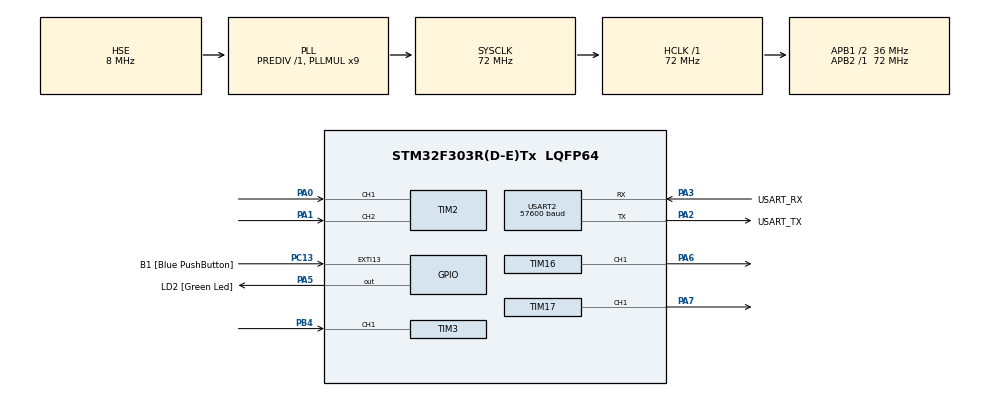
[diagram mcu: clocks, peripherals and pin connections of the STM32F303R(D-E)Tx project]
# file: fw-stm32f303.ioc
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Dma.Request0=TIM2_CH1
Dma.TIM2_CH1.0.Direction=DMA_PERIPH_TO_MEMORY
Dma.TIM2_CH1.0.Instance=DMA1_Channel5
Dma.TIM2_CH1.0.MemDataAlignment=DMA_MDATAALIGN_WORD
Dma.TIM2_CH1.0.MemInc=DMA_MINC_ENABLE
Dma.TIM2_CH1.0.Mode=DMA_NORMAL
Dma.TIM2_CH1.0.PeriphDataAlignment=DMA_PDATAALIGN_WORD
Dma.TIM2_CH1.0.PeriphInc=DMA_PINC_DISABLE
Dma.TIM2_CH1.0.Priority=DMA_PRIORITY_HIGH
Mcu.Family=STM32F3
Mcu.Name=STM32F303R(D-E)Tx
Mcu.Package=LQFP64
NVIC.DMA1_Channel5_IRQn=true\:0\:0\:false\:false\:true\:true
NVIC.PriorityGroup=NVIC_PRIORITYGROUP_0
NVIC.USART2_IRQn=true\:0\:0\:false\:false\:true\:true
PA0.Signal=S_TIM2_CH1_ETR
PA1.Signal=S_TIM2_CH2
PA13.GPIO_Label=TMS
PA13.Signal=SYS_JTMS-SWDIO
PA14.GPIO_Label=TCK
PA14.Signal=SYS_JTCK-SWCLK
PA2.GPIO_Label=USART_TX
PA2.GPIO_Mode=GPIO_MODE_AF_PP
PA2.GPIO_PuPd=GPIO_NOPULL
PA2.GPIO_Speed=GPIO_SPEED_FREQ_LOW
PA2.Mode=Asynchronous
PA2.Signal=USART2_TX
PA3.GPIO_Label=USART_RX
PA3.GPIO_Mode=GPIO_MODE_AF_PP
PA3.GPIO_PuPd=GPIO_NOPULL
PA3.GPIO_Speed=GPIO_SPEED_FREQ_LOW
PA3.Mode=Asynchronous
PA3.Signal=USART2_RX
PA5.GPIO_Label=LD2 [Green Led]
PA5.GPIO_Mode=GPIO_MODE_OUTPUT_PP
PA5.GPIO_PuPd=GPIO_NOPULL
PA5.GPIO_Speed=GPIO_SPEED_FREQ_LOW
PA5.Signal=GPIO_Output
PA6.Signal=S_TIM16_CH1
PA7.Signal=S_TIM17_CH1
PB3.GPIO_Label=SWO
PB3.Signal=SYS_JTDO-TRACESWO
PB4.Signal=S_TIM3_CH1
PC13.GPIO_Label=B1 [Blue PushButton]
PC13.GPIO_ModeDefaultEXTI=GPIO_MODE_EVT_RISING
PC13.Signal=GPXTI13
PC14-OSC32_IN.Signal=RCC_OSC32_IN
PC15-OSC32_OUT.Signal=RCC_OSC32_OUT
PF0-OSC_IN.Mode=HSE-External-Oscillator
PF0-OSC_IN.Signal=RCC_OSC_IN
PF1-OSC_OUT.Mode=HSE-External-Oscillator
PF1-OSC_OUT.Signal=RCC_OSC_OUT
ProjectManager.HeapSize=0x200
ProjectManager.StackSize=0x400
ProjectManager.TargetToolchain=SW4STM32
RCC.AHBFreq_Value=72000000
RCC.APB1CLKDivider=RCC_HCLK_DIV2
RCC.APB1Freq_Value=36000000
RCC.APB1TimFreq_Value=72000000
RCC.APB2Freq_Value=72000000
RCC.APB2TimFreq_Value=72000000
RCC.CortexFreq_Value=72000000
RCC.HCLKFreq_Value=72000000
RCC.HSE_VALUE=8000000
RCC.HSI_VALUE=8000000
RCC.LSE_VALUE=32768
RCC.PLLM=8
RCC.PLLMUL=RCC_PLL_MUL9
RCC.PLLN=336
RCC.PLLP=RCC_PLLP_DIV4
RCC.PLLQ=7
RCC.PLLSourceVirtual=RCC_PLLSOURCE_HSE
RCC.RCC_PLLsource_Clock_Source_FROM_HSE=RCC_HSE_PREDIV_DIV2
RCC.SYSCLKFreq_VALUE=72000000
RCC.SYSCLKSourceVirtual=RCC_SYSCLKSOURCE_PLLCLK
RCC.USBFreq_Value=72000000
SH.S_TIM16_CH1.0=TIM16_CH1,PWM Generation1 CH1
SH.S_TIM17_CH1.0=TIM17_CH1,PWM Generation1 CH1
SH.S_TIM2_CH1_ETR.0=TIM2_CH1,Input_Capture1_from_TI1
SH.S_TIM2_CH2.0=TIM2_CH2,Input_Capture2_from_TI2
SH.S_TIM3_CH1.0=TIM3_CH1,Input_Capture1_from_TI1
TIM16.Channel=TIM_CHANNEL_1
TIM17.Channel=TIM_CHANNEL_1
TIM2.Channel-Input_Capture1_from_TI1=TIM_CHANNEL_1
TIM2.Channel-Input_Capture2_from_TI2=TIM_CHANNEL_2
TIM3.Channel-Input_Capture1_from_TI1=TIM_CHANNEL_1
USART2.BaudRate=57600
USART2.Parity=PARITY_NONE
USART2.VirtualMode-Asynchronous=VM_ASYNC
USART2.WordLength=WORDLENGTH_8B
VP_TIM16_VS_ClockSourceINT.Mode=Enable_Timer
VP_TIM17_VS_ClockSourceINT.Mode=Enable_Timer
VP_TIM1_VS_ClockSourceINT.Mode=Internal
VP_TIM2_VS_ClockSourceINT.Mode=Internal
VP_TIM3_VS_ClockSourceINT.Mode=Internal
board=NUCLEO-F303RE

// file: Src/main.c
/**
  ******************************************************************************
  * File Name          : main.c
  * Description        : Main program body
  ******************************************************************************
  ** This notice applies to any and all portions of this file
  * that are not between comment pairs USER CODE BEGIN and
  * USER CODE END. Other portions of this file, whether
  * inserted by the user or by software development tools
  * are owned by their respective copyright owners.
  *
  * COPYRIGHT(c) 2017 STMicroelectronics
  *
  * Redistribution and use in source and binary forms, with or without modification,
  * are permitted provided that the following conditions are met:
  *   1. Redistributions of source code must retain the above copyright notice,
  *      this list of conditions and the following disclaimer.
  *   2. Redistributions in binary form must reproduce the above copyright notice,
  *      this list of conditions and the following disclaimer in the documentation
  *      and/or other materials provided with the distribution.
  *   3. Neither the name of STMicroelectronics nor the names of its contributors
  *      may be used to endorse or promote products derived from this software
  *      without specific prior written permission.
  *
  * THIS SOFTWARE IS PROVIDED BY THE COPYRIGHT HOLDERS AND CONTRIBUTORS "AS IS"
  * AND ANY EXPRESS OR IMPLIED WARRANTIES, INCLUDING, BUT NOT LIMITED TO, THE
  * IMPLIED WARRANTIES OF MERCHANTABILITY AND FITNESS FOR A PARTICULAR PURPOSE ARE
  * DISCLAIMED. IN NO EVENT SHALL THE COPYRIGHT HOLDER OR CONTRIBUTORS BE LIABLE
  * FOR ANY DIRECT, INDIRECT, INCIDENTAL, SPECIAL, EXEMPLARY, OR CONSEQUENTIAL
  * DAMAGES (INCLUDING, BUT NOT LIMITED TO, PROCUREMENT OF SUBSTITUTE GOODS OR
  * SERVICES; LOSS OF USE, DATA, OR PROFITS; OR BUSINESS INTERRUPTION) HOWEVER
  * CAUSED AND ON ANY THEORY OF LIABILITY, WHETHER IN CONTRACT, STRICT LIABILITY,
  * OR TORT (INCLUDING NEGLIGENCE OR OTHERWISE) ARISING IN ANY WAY OUT OF THE USE
  * OF THIS SOFTWARE, EVEN IF ADVISED OF THE POSSIBILITY OF SUCH DAMAGE.
  *
  ******************************************************************************
  */
#include "main.h"
#include "stm32f3xx_hal.h"

/* USER CODE BEGIN Includes */
#include "virtualinstrument/hw.h"
#include "virtualinstrument/instrument.h"
#include "virtualinstrument/protocol.h"
#include "virtualinstrument/protocol_ascii.h"

#include "hw_stm32f303.h"
#include "../../../common/protocoldefs.h"
/* USER CODE END Includes */

TIM_HandleTypeDef htim1;
TIM_HandleTypeDef htim2;
TIM_HandleTypeDef htim3;
TIM_HandleTypeDef htim16;
TIM_HandleTypeDef htim17;
DMA_HandleTypeDef hdma_tim2_ch1;

UART_HandleTypeDef huart2;

/* USER CODE BEGIN PV */
/* Private variables ---------------------------------------------------------*/

/* USER CODE END PV */

void SystemClock_Config(void);
static void MX_GPIO_Init(void);
static void MX_DMA_Init(void);
static void MX_TIM1_Init(void);
static void MX_TIM2_Init(void);
static void MX_TIM3_Init(void);
static void MX_USART2_UART_Init(void);
static void MX_TIM16_Init(void);
static void MX_TIM17_Init(void);

void HAL_TIM_MspPostInit(TIM_HandleTypeDef *htim);

/* USER CODE BEGIN PFP */
/* Private function prototypes -----------------------------------------------*/

/* USER CODE END PFP */

/* USER CODE BEGIN 0 */
int DataOut(const uint8_t* data, size_t length) {
  static const uint32_t kTimeout = 2000;

  return HAL_UART_Transmit(&huart2, (uint8_t*) data, length, kTimeout);
}

#define PORT_PULSE_COUNT            "A0"
#define PORT_PERIOD_1               "A0"
#define PORT_PERIOD_2               "A1"
#define PORT_INTERVAL_A             "A0"
#define PORT_INTERVAL_B             "A1"
#define PORT_FREQ_RATIO_A           "A0"
#define PORT_FREQ_RATIO_B           "D5"
#define PORT_PWM_A                  "D12"
#define PORT_PWM_B                  "D11"

static const protocol_ascii_options_t ascii_options = {
        .port_in_pulse_count = PORT_PULSE_COUNT,
        .port_in_period = PORT_PERIOD_1,
        .port_in_pwm_1 = PORT_PERIOD_1,
        .port_in_pwm_2 = PORT_PERIOD_2,
        .port_in_interval_a = PORT_INTERVAL_A,
        .port_in_interval_b = PORT_INTERVAL_B,
        .port_in_freq_ratio_a = PORT_FREQ_RATIO_A,
        .port_in_freq_ratio_b = PORT_FREQ_RATIO_B,
        .port_out_pwm_a = PORT_PWM_A,
        .port_out_pwm_b = PORT_PWM_B,
};
/* USER CODE END 0 */

int main(void)
{

  /* MCU Configuration----------------------------------------------------------*/

  /* Reset of all peripherals, Initializes the Flash interface and the Systick. */
  HAL_Init();

  /* Configure the system clock */
  SystemClock_Config();

  /* Initialize all configured peripherals */
  MX_GPIO_Init();
  MX_DMA_Init();
  MX_TIM1_Init();
  MX_TIM2_Init();
  MX_TIM3_Init();
  MX_USART2_UART_Init();
  MX_TIM16_Init();
  MX_TIM17_Init();

  /* USER CODE BEGIN 2 */
  HAL_TIM_PWM_Start(&PWM1_HTIM, PWM1_CHANNEL);
  HAL_TIM_PWM_Start(&PWM2_HTIM, PWM2_CHANNEL);

  instrumentInit();
  protocolInit(BOARD_F303_NUCLEO64, INSTRUMENT_VERSION, SystemCoreClock, TIMEBASE_SOURCE_EXTERNAL);
  protocolAsciiInit(&ascii_options);

  __HAL_UART_ENABLE_IT(&huart2, UART_IT_RXNE);
  /* USER CODE END 2 */

  /* Infinite loop */
  while (1)
  {

  /* USER CODE BEGIN 3 */
    instrumentProcess();
    protocolProcess();
  }
  /* USER CODE END 3 */

}

/** System Clock Configuration
*/
void SystemClock_Config(void)
{

  RCC_OscInitTypeDef RCC_OscInitStruct;
  RCC_ClkInitTypeDef RCC_ClkInitStruct;
  RCC_PeriphCLKInitTypeDef PeriphClkInit;

    /**Initializes the CPU, AHB and APB busses clocks
    */
  RCC_OscInitStruct.OscillatorType = RCC_OSCILLATORTYPE_HSE;
  RCC_OscInitStruct.HSEState = RCC_HSE_ON;
  RCC_OscInitStruct.HSIState = RCC_HSI_ON;
  RCC_OscInitStruct.PLL.PLLState = RCC_PLL_ON;
  RCC_OscInitStruct.PLL.PLLSource = RCC_PLLSOURCE_HSE;
  RCC_OscInitStruct.PLL.PLLMUL = RCC_PLL_MUL9;
  RCC_OscInitStruct.PLL.PREDIV = RCC_PREDIV_DIV1;
  if (HAL_RCC_OscConfig(&RCC_OscInitStruct) != HAL_OK)
  {
    _Error_Handler(__FILE__, __LINE__);
  }

    /**Initializes the CPU, AHB and APB busses clocks
    */
  RCC_ClkInitStruct.ClockType = RCC_CLOCKTYPE_HCLK|RCC_CLOCKTYPE_SYSCLK
                              |RCC_CLOCKTYPE_PCLK1|RCC_CLOCKTYPE_PCLK2;
  RCC_ClkInitStruct.SYSCLKSource = RCC_SYSCLKSOURCE_PLLCLK;
  RCC_ClkInitStruct.AHBCLKDivider = RCC_SYSCLK_DIV1;
  RCC_ClkInitStruct.APB1CLKDivider = RCC_HCLK_DIV2;
  RCC_ClkInitStruct.APB2CLKDivider = RCC_HCLK_DIV1;

  if (HAL_RCC_ClockConfig(&RCC_ClkInitStruct, FLASH_LATENCY_2) != HAL_OK)
  {
    _Error_Handler(__FILE__, __LINE__);
  }

  PeriphClkInit.PeriphClockSelection = RCC_PERIPHCLK_USART2|RCC_PERIPHCLK_TIM1
                              |RCC_PERIPHCLK_TIM16|RCC_PERIPHCLK_TIM17
                              |RCC_PERIPHCLK_TIM2|RCC_PERIPHCLK_TIM34;
  PeriphClkInit.Usart2ClockSelection = RCC_USART2CLKSOURCE_PCLK1;
  PeriphClkInit.Tim1ClockSelection = RCC_TIM1CLK_HCLK;
  PeriphClkInit.Tim16ClockSelection = RCC_TIM16CLK_HCLK;
  PeriphClkInit.Tim17ClockSelection = RCC_TIM17CLK_HCLK;
  PeriphClkInit.Tim2ClockSelection = RCC_TIM2CLK_HCLK;
  PeriphClkInit.Tim34ClockSelection = RCC_TIM34CLK_HCLK;
  if (HAL_RCCEx_PeriphCLKConfig(&PeriphClkInit) != HAL_OK)
  {
    _Error_Handler(__FILE__, __LINE__);
  }

    /**Configure the Systick interrupt time
    */
  HAL_SYSTICK_Config(HAL_RCC_GetHCLKFreq()/1000);

    /**Configure the Systick
    */
  HAL_SYSTICK_CLKSourceConfig(SYSTICK_CLKSOURCE_HCLK);

  /* SysTick_IRQn interrupt configuration */
  HAL_NVIC_SetPriority(SysTick_IRQn, 0, 0);
}

/* TIM1 init function */
static void MX_TIM1_Init(void)
{

  TIM_ClockConfigTypeDef sClockSourceConfig;
  TIM_MasterConfigTypeDef sMasterConfig;

  htim1.Instance = TIM1;
  htim1.Init.Prescaler = 0;
  htim1.Init.CounterMode = TIM_COUNTERMODE_UP;
  htim1.Init.Period = 0;
  htim1.Init.ClockDivision = TIM_CLOCKDIVISION_DIV1;
  htim1.Init.RepetitionCounter = 0;
  htim1.Init.AutoReloadPreload = TIM_AUTORELOAD_PRELOAD_DISABLE;
  if (HAL_TIM_Base_Init(&htim1) != HAL_OK)
  {
    _Error_Handler(__FILE__, __LINE__);
  }

  sClockSourceConfig.ClockSource = TIM_CLOCKSOURCE_INTERNAL;
  if (HAL_TIM_ConfigClockSource(&htim1, &sClockSourceConfig) != HAL_OK)
  {
    _Error_Handler(__FILE__, __LINE__);
  }

  sMasterConfig.MasterOutputTrigger = TIM_TRGO_RESET;
  sMasterConfig.MasterOutputTrigger2 = TIM_TRGO2_RESET;
  sMasterConfig.MasterSlaveMode = TIM_MASTERSLAVEMODE_DISABLE;
  if (HAL_TIMEx_MasterConfigSynchronization(&htim1, &sMasterConfig) != HAL_OK)
  {
    _Error_Handler(__FILE__, __LINE__);
  }

}

/* TIM2 init function */
static void MX_TIM2_Init(void)
{

  TIM_ClockConfigTypeDef sClockSourceConfig;
  TIM_MasterConfigTypeDef sMasterConfig;
  TIM_IC_InitTypeDef sConfigIC;

  htim2.Instance = TIM2;
  htim2.Init.Prescaler = 0;
  htim2.Init.CounterMode = TIM_COUNTERMODE_UP;
  htim2.Init.Period = 0;
  htim2.Init.ClockDivision = TIM_CLOCKDIVISION_DIV1;
  htim2.Init.AutoReloadPreload = TIM_AUTORELOAD_PRELOAD_DISABLE;
  if (HAL_TIM_Base_Init(&htim2) != HAL_OK)
  {
    _Error_Handler(__FILE__, __LINE__);
  }

  sClockSourceConfig.ClockSource = TIM_CLOCKSOURCE_INTERNAL;
  if (HAL_TIM_ConfigClockSource(&htim2, &sClockSourceConfig) != HAL_OK)
  {
    _Error_Handler(__FILE__, __LINE__);
  }

  if (HAL_TIM_IC_Init(&htim2) != HAL_OK)
  {
    _Error_Handler(__FILE__, __LINE__);
  }

  sMasterConfig.MasterOutputTrigger = TIM_TRGO_RESET;
  sMasterConfig.MasterSlaveMode = TIM_MASTERSLAVEMODE_DISABLE;
  if (HAL_TIMEx_MasterConfigSynchronization(&htim2, &sMasterConfig) != HAL_OK)
  {
    _Error_Handler(__FILE__, __LINE__);
  }

  sConfigIC.ICPolarity = TIM_INPUTCHANNELPOLARITY_RISING;
  sConfigIC.ICSelection = TIM_ICSELECTION_DIRECTTI;
  sConfigIC.ICPrescaler = TIM_ICPSC_DIV1;
  sConfigIC.ICFilter = 0;
  if (HAL_TIM_IC_ConfigChannel(&htim2, &sConfigIC, TIM_CHANNEL_1) != HAL_OK)
  {
    _Error_Handler(__FILE__, __LINE__);
  }

  if (HAL_TIM_IC_ConfigChannel(&htim2, &sConfigIC, TIM_CHANNEL_2) != HAL_OK)
  {
    _Error_Handler(__FILE__, __LINE__);
  }

}

/* TIM3 init function */
static void MX_TIM3_Init(void)
{

  TIM_ClockConfigTypeDef sClockSourceConfig;
  TIM_MasterConfigTypeDef sMasterConfig;
  TIM_IC_InitTypeDef sConfigIC;

  htim3.Instance = TIM3;
  htim3.Init.Prescaler = 0;
  htim3.Init.CounterMode = TIM_COUNTERMODE_UP;
  htim3.Init.Period = 0;
  htim3.Init.ClockDivision = TIM_CLOCKDIVISION_DIV1;
  htim3.Init.AutoReloadPreload = TIM_AUTORELOAD_PRELOAD_DISABLE;
  if (HAL_TIM_Base_Init(&htim3) != HAL_OK)
  {
    _Error_Handler(__FILE__, __LINE__);
  }

  sClockSourceConfig.ClockSource = TIM_CLOCKSOURCE_INTERNAL;
  if (HAL_TIM_ConfigClockSource(&htim3, &sClockSourceConfig) != HAL_OK)
  {
    _Error_Handler(__FILE__, __LINE__);
  }

  if (HAL_TIM_IC_Init(&htim3) != HAL_OK)
  {
    _Error_Handler(__FILE__, __LINE__);
  }

  sMasterConfig.MasterOutputTrigger = TIM_TRGO_RESET;
  sMasterConfig.MasterSlaveMode = TIM_MASTERSLAVEMODE_DISABLE;
  if (HAL_TIMEx_MasterConfigSynchronization(&htim3, &sMasterConfig) != HAL_OK)
  {
    _Error_Handler(__FILE__, __LINE__);
  }

  sConfigIC.ICPolarity = TIM_INPUTCHANNELPOLARITY_RISING;
  sConfigIC.ICSelection = TIM_ICSELECTION_DIRECTTI;
  sConfigIC.ICPrescaler = TIM_ICPSC_DIV1;
  sConfigIC.ICFilter = 0;
  if (HAL_TIM_IC_ConfigChannel(&htim3, &sConfigIC, TIM_CHANNEL_1) != HAL_OK)
  {
    _Error_Handler(__FILE__, __LINE__);
  }

}

/* TIM16 init function */
static void MX_TIM16_Init(void)
{

  TIM_OC_InitTypeDef sConfigOC;
  TIM_BreakDeadTimeConfigTypeDef sBreakDeadTimeConfig;

  htim16.Instance = TIM16;
  htim16.Init.Prescaler = 0;
  htim16.Init.CounterMode = TIM_COUNTERMODE_UP;
  htim16.Init.Period = 0;
  htim16.Init.ClockDivision = TIM_CLOCKDIVISION_DIV1;
  htim16.Init.RepetitionCounter = 0;
  htim16.Init.AutoReloadPreload = TIM_AUTORELOAD_PRELOAD_DISABLE;
  if (HAL_TIM_Base_Init(&htim16) != HAL_OK)
  {
    _Error_Handler(__FILE__, __LINE__);
  }

  if (HAL_TIM_PWM_Init(&htim16) != HAL_OK)
  {
    _Error_Handler(__FILE__, __LINE__);
  }

  sConfigOC.OCMode = TIM_OCMODE_PWM1;
  sConfigOC.Pulse = 0;
  sConfigOC.OCPolarity = TIM_OCPOLARITY_HIGH;
  sConfigOC.OCNPolarity = TIM_OCNPOLARITY_HIGH;
  sConfigOC.OCFastMode = TIM_OCFAST_DISABLE;
  sConfigOC.OCIdleState = TIM_OCIDLESTATE_RESET;
  sConfigOC.OCNIdleState = TIM_OCNIDLESTATE_RESET;
  if (HAL_TIM_PWM_ConfigChannel(&htim16, &sConfigOC, TIM_CHANNEL_1) != HAL_OK)
  {
    _Error_Handler(__FILE__, __LINE__);
  }

  sBreakDeadTimeConfig.OffStateRunMode = TIM_OSSR_DISABLE;
  sBreakDeadTimeConfig.OffStateIDLEMode = TIM_OSSI_DISABLE;
  sBreakDeadTimeConfig.LockLevel = TIM_LOCKLEVEL_OFF;
  sBreakDeadTimeConfig.DeadTime = 0;
  sBreakDeadTimeConfig.BreakState = TIM_BREAK_DISABLE;
  sBreakDeadTimeConfig.BreakPolarity = TIM_BREAKPOLARITY_HIGH;
  sBreakDeadTimeConfig.BreakFilter = 0;
  sBreakDeadTimeConfig.AutomaticOutput = TIM_AUTOMATICOUTPUT_DISABLE;
  if (HAL_TIMEx_ConfigBreakDeadTime(&htim16, &sBreakDeadTimeConfig) != HAL_OK)
  {
    _Error_Handler(__FILE__, __LINE__);
  }

  HAL_TIM_MspPostInit(&htim16);

}

/* TIM17 init function */
static void MX_TIM17_Init(void)
{

  TIM_OC_InitTypeDef sConfigOC;
  TIM_BreakDeadTimeConfigTypeDef sBreakDeadTimeConfig;

  htim17.Instance = TIM17;
  htim17.Init.Prescaler = 0;
  htim17.Init.CounterMode = TIM_COUNTERMODE_UP;
  htim17.Init.Period = 0;
  htim17.Init.ClockDivision = TIM_CLOCKDIVISION_DIV1;
  htim17.Init.RepetitionCounter = 0;
  htim17.Init.AutoReloadPreload = TIM_AUTORELOAD_PRELOAD_DISABLE;
  if (HAL_TIM_Base_Init(&htim17) != HAL_OK)
  {
    _Error_Handler(__FILE__, __LINE__);
  }

  if (HAL_TIM_PWM_Init(&htim17) != HAL_OK)
  {
    _Error_Handler(__FILE__, __LINE__);
  }

  sConfigOC.OCMode = TIM_OCMODE_PWM1;
  sConfigOC.Pulse = 0;
  sConfigOC.OCPolarity = TIM_OCPOLARITY_HIGH;
  sConfigOC.OCNPolarity = TIM_OCNPOLARITY_HIGH;
  sConfigOC.OCFastMode = TIM_OCFAST_DISABLE;
  sConfigOC.OCIdleState = TIM_OCIDLESTATE_RESET;
  sConfigOC.OCNIdleState = TIM_OCNIDLESTATE_RESET;
  if (HAL_TIM_PWM_ConfigChannel(&htim17, &sConfigOC, TIM_CHANNEL_1) != HAL_OK)
  {
    _Error_Handler(__FILE__, __LINE__);
  }

  sBreakDeadTimeConfig.OffStateRunMode = TIM_OSSR_DISABLE;
  sBreakDeadTimeConfig.OffStateIDLEMode = TIM_OSSI_DISABLE;
  sBreakDeadTimeConfig.LockLevel = TIM_LOCKLEVEL_OFF;
  sBreakDeadTimeConfig.DeadTime = 0;
  sBreakDeadTimeConfig.BreakState = TIM_BREAK_DISABLE;
  sBreakDeadTimeConfig.BreakPolarity = TIM_BREAKPOLARITY_HIGH;
  sBreakDeadTimeConfig.BreakFilter = 0;
  sBreakDeadTimeConfig.AutomaticOutput = TIM_AUTOMATICOUTPUT_DISABLE;
  if (HAL_TIMEx_ConfigBreakDeadTime(&htim17, &sBreakDeadTimeConfig) != HAL_OK)
  {
    _Error_Handler(__FILE__, __LINE__);
  }

  HAL_TIM_MspPostInit(&htim17);

}

/* USART2 init function */
static void MX_USART2_UART_Init(void)
{

  huart2.Instance = USART2;
  huart2.Init.BaudRate = 57600;
  huart2.Init.WordLength = UART_WORDLENGTH_8B;
  huart2.Init.StopBits = UART_STOPBITS_1;
  huart2.Init.Parity = UART_PARITY_NONE;
  huart2.Init.Mode = UART_MODE_TX_RX;
  huart2.Init.HwFlowCtl = UART_HWCONTROL_NONE;
  huart2.Init.OverSampling = UART_OVERSAMPLING_16;
  huart2.Init.OneBitSampling = UART_ONE_BIT_SAMPLE_DISABLE;
  huart2.AdvancedInit.AdvFeatureInit = UART_ADVFEATURE_NO_INIT;
  if (HAL_UART_Init(&huart2) != HAL_OK)
  {
    _Error_Handler(__FILE__, __LINE__);
  }

}

static void MX_DMA_Init(void)
{
  /* DMA controller clock enable */
  __HAL_RCC_DMA1_CLK_ENABLE();

  /* DMA interrupt init */
  /* DMA1_Channel5_IRQn interrupt configuration */
  HAL_NVIC_SetPriority(DMA1_Channel5_IRQn, 0, 0);
  HAL_NVIC_EnableIRQ(DMA1_Channel5_IRQn);

}

/** Configure pins as
        * Analog
        * Input
        * Output
        * EVENT_OUT
        * EXTI
*/
static void MX_GPIO_Init(void)
{

  GPIO_InitTypeDef GPIO_InitStruct;

  /* GPIO Ports Clock Enable */
  __HAL_RCC_GPIOC_CLK_ENABLE();
  __HAL_RCC_GPIOF_CLK_ENABLE();
  __HAL_RCC_GPIOA_CLK_ENABLE();
  __HAL_RCC_GPIOB_CLK_ENABLE();

  /*Configure GPIO pin Output Level */
  HAL_GPIO_WritePin(LD2_GPIO_Port, LD2_Pin, GPIO_PIN_RESET);

  /*Configure GPIO pin : B1_Pin */
  GPIO_InitStruct.Pin = B1_Pin;
  GPIO_InitStruct.Mode = GPIO_MODE_EVT_RISING;
  GPIO_InitStruct.Pull = GPIO_NOPULL;
  HAL_GPIO_Init(B1_GPIO_Port, &GPIO_InitStruct);

  /*Configure GPIO pin : LD2_Pin */
  GPIO_InitStruct.Pin = LD2_Pin;
  GPIO_InitStruct.Mode = GPIO_MODE_OUTPUT_PP;
  GPIO_InitStruct.Pull = GPIO_NOPULL;
  GPIO_InitStruct.Speed = GPIO_SPEED_FREQ_LOW;
  HAL_GPIO_Init(LD2_GPIO_Port, &GPIO_InitStruct);

}

void _Error_Handler(char * file, int line)
{
  while(1)
  {
  }
}

/************************ (C) COPYRIGHT STMicroelectronics *****END OF FILE****/
